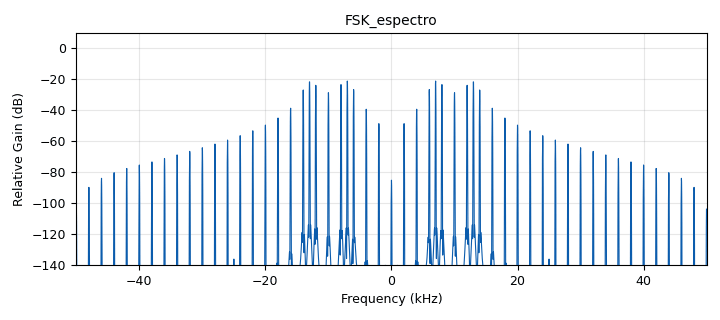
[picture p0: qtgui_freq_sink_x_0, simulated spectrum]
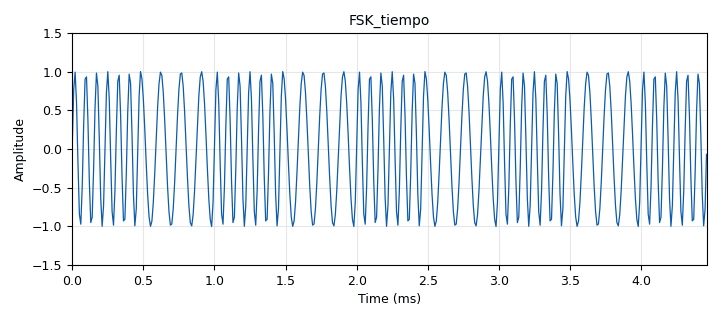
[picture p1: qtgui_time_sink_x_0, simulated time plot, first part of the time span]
options:
  parameters:
    generate_options: qt_gui
    id: lab3_fsk
    output_language: python
    title: Not titled yet
  states: {}

blocks:
- name: Ac
  id: variable
  parameters:
    value: '1'
  states: {}
- name: Rb
  id: variable
  parameters:
    value: '1000'
  states: {}
- name: delta_f
  id: variable
  parameters:
    value: '3000'
  states: {}
- name: f0
  id: variable
  parameters:
    value: '7000'
  states: {}
- name: f1
  id: variable
  parameters:
    value: '13000'
  states: {}
- name: fc
  id: variable
  parameters:
    value: '10000'
  states: {}
- name: samp_rate
  id: variable
  parameters:
    value: '100000'
  states: {}
- name: analog_sig_source_x_0
  id: analog_sig_source_x
  parameters:
    amp: '1'
    freq: Rb
    offset: '0'
    phase: '0'
    samp_rate: samp_rate
    type: float
    waveform: analog.GR_SQR_WAVE
  states: {}
- name: analog_sig_source_x_1
  id: analog_sig_source_x
  parameters:
    amp: Ac
    freq: f0
    offset: '0'
    phase: '0'
    samp_rate: samp_rate
    type: float
    waveform: analog.GR_COS_WAVE
  states: {}
- name: analog_sig_source_x_2
  id: analog_sig_source_x
  parameters:
    amp: Ac
    freq: f1
    offset: '0'
    phase: '0'
    samp_rate: samp_rate
    type: float
    waveform: analog.GR_COS_WAVE
  states: {}
- name: blocks_add_const_vxx_0
  id: blocks_add_const_vxx
  parameters:
    const: '1'
    type: float
  states: {}
- name: blocks_add_xx_0
  id: blocks_add_xx
  parameters:
    type: float
  states: {}
- name: blocks_multiply_const_vxx_0
  id: blocks_multiply_const_vxx
  parameters:
    const: '-1'
    type: float
  states: {}
- name: blocks_multiply_xx_0
  id: blocks_multiply_xx
  parameters:
    type: float
  states: {}
- name: blocks_multiply_xx_1
  id: blocks_multiply_xx
  parameters:
    type: float
  states: {}
- name: blocks_throttle2_0
  id: blocks_throttle2
  parameters:
    samples_per_second: samp_rate
    type: float
  states: {}
- name: qtgui_freq_sink_x_0
  id: qtgui_freq_sink_x
  parameters:
    bw: samp_rate
    fc: '0'
    fftsize: '4096'
    name: '"FSK_espectro"'
    type: float
  states: {}
- name: qtgui_time_sink_x_0
  id: qtgui_time_sink_x
  parameters:
    name: '"FSK_tiempo"'
    size: '2048'
    srate: samp_rate
    type: float
    ymax: '1.5'
    ymin: '-1.5'
  states: {}

connections:
- [analog_sig_source_x_0, '0', blocks_multiply_const_vxx_0, '0']
- [analog_sig_source_x_0, '0', blocks_multiply_xx_1, '0']
- [analog_sig_source_x_1, '0', blocks_multiply_xx_0, '1']
- [analog_sig_source_x_2, '0', blocks_multiply_xx_1, '1']
- [blocks_add_const_vxx_0, '0', blocks_multiply_xx_0, '0']
- [blocks_add_xx_0, '0', blocks_throttle2_0, '0']
- [blocks_multiply_const_vxx_0, '0', blocks_add_const_vxx_0, '0']
- [blocks_multiply_xx_0, '0', blocks_add_xx_0, '1']
- [blocks_multiply_xx_1, '0', blocks_add_xx_0, '0']
- [blocks_throttle2_0, '0', qtgui_freq_sink_x_0, '0']
- [blocks_throttle2_0, '0', qtgui_time_sink_x_0, '0']

metadata:
  file_format: 1
  grc_version: 3.10.9.2
